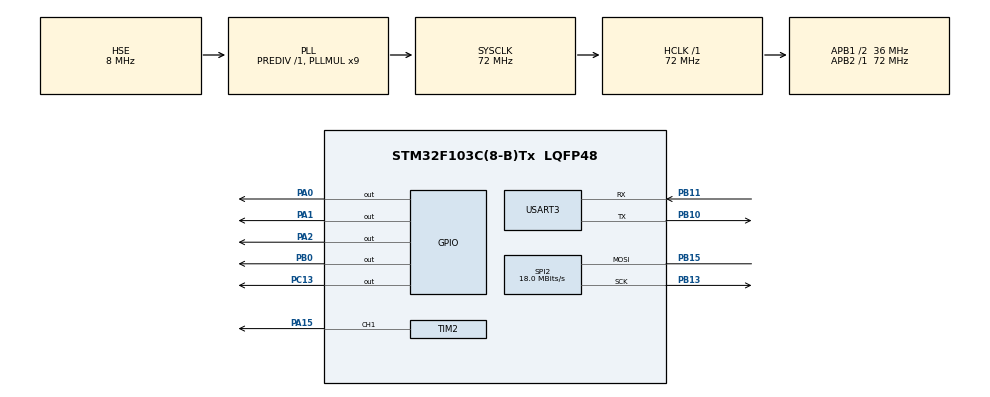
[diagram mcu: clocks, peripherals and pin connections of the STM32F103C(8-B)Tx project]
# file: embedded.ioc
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Mcu.Family=STM32F1
Mcu.Name=STM32F103C(8-B)Tx
Mcu.Package=LQFP48
NVIC.PriorityGroup=NVIC_PRIORITYGROUP_4
NVIC.TIM3_IRQn=true\:2\:0\:true\:false\:true\:true\:true\:true
NVIC.USART3_IRQn=true\:0\:0\:true\:false\:true\:true\:true\:true
PA0-WKUP.GPIO_PuPd=GPIO_PULLUP
PA0-WKUP.Signal=GPIO_Output
PA1.GPIO_PuPd=GPIO_PULLUP
PA1.Signal=GPIO_Output
PA13.Mode=Serial_Wire
PA13.Signal=SYS_JTMS-SWDIO
PA14.Mode=Serial_Wire
PA14.Signal=SYS_JTCK-SWCLK
PA15.Signal=S_TIM2_CH1_ETR
PA2.GPIO_PuPd=GPIO_PULLUP
PA2.Signal=GPIO_Output
PB0.GPIO_Speed=GPIO_SPEED_FREQ_HIGH
PB0.Signal=GPIO_Output
PB10.Mode=Asynchronous
PB10.Signal=USART3_TX
PB11.Mode=Asynchronous
PB11.Signal=USART3_RX
PB13.Mode=Simplex_Bidirectional_Master
PB13.Signal=SPI2_SCK
PB15.Mode=Simplex_Bidirectional_Master
PB15.Signal=SPI2_MOSI
PC13-TAMPER-RTC.Signal=GPIO_Output
PD0-OSC_IN.Mode=HSE-External-Oscillator
PD0-OSC_IN.Signal=RCC_OSC_IN
PD1-OSC_OUT.Mode=HSE-External-Oscillator
PD1-OSC_OUT.Signal=RCC_OSC_OUT
ProjectManager.HeapSize=0x200
ProjectManager.StackSize=0x400
ProjectManager.TargetToolchain=Makefile
RCC.AHBFreq_Value=72000000
RCC.APB1CLKDivider=RCC_HCLK_DIV2
RCC.APB1Freq_Value=36000000
RCC.APB1TimFreq_Value=72000000
RCC.APB2Freq_Value=72000000
RCC.APB2TimFreq_Value=72000000
RCC.HCLKFreq_Value=72000000
RCC.PLLMUL=RCC_PLL_MUL9
RCC.PLLSourceVirtual=RCC_PLLSOURCE_HSE
RCC.SYSCLKFreq_VALUE=72000000
RCC.SYSCLKSource=RCC_SYSCLKSOURCE_PLLCLK
RCC.USBFreq_Value=72000000
SH.S_TIM2_CH1_ETR.0=TIM2_CH1,PWM Generation1 CH1
SPI2.CalculateBaudRate=18.0 MBits/s
SPI2.Direction=SPI_DIRECTION_1LINE
SPI2.Mode=SPI_MODE_MASTER
SPI2.VirtualType=VM_MASTER
TIM1.Prescaler=72-1
TIM2.Channel-PWM\ Generation1\ CH1=TIM_CHANNEL_1
TIM2.Period=1000-1
TIM2.Prescaler=1444-1
TIM3.Period=60000
TIM3.Prescaler=7200-1
USART3.VirtualMode=VM_ASYNC
VP_TIM1_VS_ClockSourceINT.Mode=Internal
VP_TIM2_VS_ClockSourceINT.Mode=Internal
VP_TIM3_VS_ClockSourceINT.Mode=Internal
board=custom

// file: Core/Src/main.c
/* USER CODE BEGIN Header */
/**
 ******************************************************************************
 * @file           : main.c
 * @brief          : Main program body
 ******************************************************************************
 * @attention
 *
 * Copyright (c) 2023 STMicroelectronics.
 * All rights reserved.
 *
 * This software is licensed under terms that can be found in the LICENSE file
 * in the root directory of this software component.
 * If no LICENSE file comes with this software, it is provided AS-IS.
 *    // angle = 1.8*count-45;
 ******************************************************************************
 */
/* USER CODE END Header */
#include "main.h"
#include "spi.h"
#include "tim.h"
#include "usart.h"
#include "gpio.h"

/* USER CODE BEGIN Includes */
#include "stdio.h"
#include "stdlib.h"
#include "math.h"
#include "string.h"
#include "st7735.h"
#include "dht22.h"
// #include "fonts.h"

/* USER CODE END Includes */

/* USER CODE BEGIN PV */
int count = 25;
char rota[20] = {0};
char threshold[20] = {0};
char label_thres[10] = {0};
char str_thres[5] = {0};
int angle;
char buf_temp[20] = {0};
char buf_humi[20] = {0};
enum
{
  Task_sensor,
  Task_control,
  Task_display,
  Mode_auto,
  Mode_manual
};

volatile int Type_task = Task_sensor;
volatile int Mode = Mode_auto;

uint8_t Rx_data;
char buffer_data[50] = {0};
volatile int Rx_index = 0;
volatile bool Rx_complete = false;

volatile bool perform_s = false;
volatile bool perform_c = false;
volatile bool perform_d = false;

int PC_rota;
float PC_threshold = 30;

int temp;
int humi;
/* USER CODE END PV */

void SystemClock_Config(void);

/* USER CODE BEGIN 0 */
// void debug()
void set_timer(long time)
{
  TIM3->CNT = 60000 - time * 10;
}
void log_data(char *buffer)
{
  HAL_UART_Transmit(&huart3, (uint8_t *)buffer, strlen(buffer), 1000);
}

void HAL_TIM_PeriodElapsedCallback(TIM_HandleTypeDef *htim)
{
  if (htim == &htim3)
  {
    if (Type_task == Task_sensor)
    {
      perform_s = false;
      Type_task = Task_control;
      set_timer(500);
      return;
    }
    if (Type_task == Task_control)
    {
      perform_c = false;
      Type_task = Task_display;
      set_timer(500);
      return;
    }
    if (Type_task == Task_display)
    {
      perform_d = false;
      Type_task = Task_sensor;
      set_timer(1000);
      return;
    }
  }
}

void HAL_UART_RxCpltCallback(UART_HandleTypeDef *huart)
{
  if (huart == &huart3)
  {
    HAL_TIM_Base_Stop(&htim3);
    if (Rx_data == 13)
    {
      buffer_data[Rx_index] = '\0';
      Rx_index = 0;
      Rx_complete = true;
      if (strcmp(buffer_data, "manual") == 0)
      {
        Mode = Mode_manual;
      }
      if (strcmp(buffer_data, "auto") == 0)
      {
        Mode = Mode_auto;
      }
    }
    else
    {
      buffer_data[Rx_index] = (char)Rx_data;
      Rx_index++;
      // log_data((char*)Rx_data);
    }
    HAL_UART_Receive_IT(&huart3, &Rx_data, 1);
    HAL_TIM_Base_Start(&htim3);
  }
}
uint8_t RHI, RHD, TCI, TCD, SUM;
float tCelsius = 0;
float tFahrenheit = 0;
float RH = 0;

char thres_tring[]="Thres: 30";

/* USER CODE END 0 */

int main(void)
{

  /* MCU Configuration--------------------------------------------------------*/

  /* Reset of all peripherals, Initializes the Flash interface and the Systick. */
  HAL_Init();

  /* Configure the system clock */
  SystemClock_Config();

  /* Initialize all configured peripherals */
  MX_GPIO_Init();
  MX_SPI2_Init();
  MX_TIM1_Init();
  MX_USART3_UART_Init();
  MX_TIM2_Init();
  MX_TIM3_Init();
  /* USER CODE BEGIN 2 */
  // TImer 2 ->>>> generate PWM to control sg90
  HAL_TIM_PWM_Start(&htim2, TIM_CHANNEL_1);
  // init LCD TFT
  ST7735_Init();
  // Timer 1 to gen delay for DHT22
  HAL_TIM_Base_Start(&htim1);
  // set screen
  ST7735_FillScreen(ST7735_BLACK);
  ST7735_WriteString(25, 0, "Team 17", Font_11x18, ST7735_RED, ST7735_BLACK);
  ST7735_WriteString(0, 30, "Temp: ", Font_11x18, ST7735_RED, ST7735_BLACK);
  ST7735_WriteString(0, 3 * 10 * 2, "Humi: ", Font_11x18, ST7735_RED, ST7735_BLACK);
  ST7735_WriteString(0, 3 * 10 * 3, "Rota: ", Font_11x18, ST7735_GREEN, ST7735_BLACK);
  //sprintf(thres_tring,"Thresh: %.1f",PC_threshold);
  //strcat(thres_tring,"30");
  ST7735_WriteString(0, 3 * 10 * 4, thres_tring, Font_11x18, ST7735_GREEN, ST7735_BLACK);

  // ST7735_WriteString(35, 145, "Warnning", Font_7x10, ST7735_WHITE, ST7735_BLACK);
  HAL_Delay(1000);

  set_timer(1000);
  HAL_TIM_Base_Start_IT(&htim3);

  // interrupt UART
  HAL_UART_Receive_IT(&huart3, &Rx_data, 1);
  /* USER CODE END 2 */

  /* Infinite loop */
  while (1)
  {

    /* USER CODE BEGIN 3 */
    switch (Mode)
    {
    case Mode_auto:
      if (Type_task == Task_sensor)
      {
        if (!perform_s)
        {
          perform_s = true;
          log_data("task sensor\n");
          if (DHT11_Start())
          {
            RHI = DHT11_Read(); // Relative humidity integral
            RHD = DHT11_Read(); // Relative humidity decimal
            TCI = DHT11_Read(); // Celsius integral
            TCD = DHT11_Read(); // Celsius decimal
            SUM = DHT11_Read(); // Check sum
            if (RHI + RHD + TCI + TCD == SUM)
            {
              // Can use RHI and TCI for any purposes if whole number only needed
              temp = (float)TCI + (float)(TCD / 10.0);
              humi = (float)RHI + (float)(RHD / 10.0);
              // Can use tCelsius, tFahrenheit and RH for any purposes
            }
          }
        }
          // read sensor
        }
        if (Type_task == Task_control)
        {
          if (!perform_c)
          {
            perform_c = true;
            log_data("task control\n");
            // depend Temp value
            //>PC_threshold -> close curtain
            if (temp > PC_threshold)
            {
              TIM2->CCR1 = 25;
              // sprintf(rota, "Rota: %d  ", 0);
              // log_data(rota);
              // log_data("\n");
              // ST7735_WriteString(0, 3 * 10 * 3, rota, Font_11x18, ST7735_GREEN, ST7735_BLACK);
              // ST7735_WriteString(35, 145, "Warnning", Font_7x10, ST7735_WHITE, ST7735_BLACK);

            }
            //<PC_threshold -> close curtain
            else
            {
              TIM2->CCR1 = 125;
              // sprintf(rota, "Rota: %d  ", 180);
              // log_data(rota);
              // log_data("\n");
              // ST7735_WriteString(0, 3 * 10 * 3, rota, Font_11x18, ST7735_GREEN, ST7735_BLACK);
              // ST7735_WriteString(35, 145, "          ", Font_7x10, ST7735_WHITE, ST7735_BLACK);
            }
          }
        }
        if (Type_task == Task_display)
        {
          if (!perform_d)
          {
            perform_d = true;
            log_data("task display\n");
            sprintf(buf_temp, "Temp: %d C", temp);
            sprintf(buf_humi, "Humi: %d ", humi);
            log_data(buf_temp);
            log_data("\n");
            log_data(buf_humi);
            log_data("\n");
            if (temp > PC_threshold)
            {
              sprintf(rota, "Rota: %d  ", 0);
              log_data(rota);
              log_data("\n");
              ST7735_WriteString(0, 3 * 10 * 3, rota, Font_11x18, ST7735_GREEN, ST7735_BLACK);
              ST7735_WriteString(35, 145, "Warnning", Font_7x10, ST7735_WHITE, ST7735_BLACK);
            }
            else
            {
              sprintf(rota, "Rota: %d  ", 180);
              log_data(rota);
              log_data("\n");
              ST7735_WriteString(0, 3 * 10 * 3, rota, Font_11x18, ST7735_GREEN, ST7735_BLACK);
              ST7735_WriteString(35, 145, "          ", Font_7x10, ST7735_WHITE, ST7735_BLACK);
            }
            ST7735_WriteString(0, 30, buf_temp, Font_11x18, ST7735_RED, ST7735_BLACK);
            ST7735_WriteString(0, 3 * 10 * 2, strcat(buf_humi, "%"), Font_11x18, ST7735_RED, ST7735_BLACK);
          }
        }
        break;

      case Mode_manual:
        if (Rx_complete)
        {
          Rx_complete = false;
          if (strncmp(buffer_data, "Rota", 4) == 0)
          {
            // Parse string
            sscanf(buffer_data, "%*[^0-9]%d", &PC_rota);
            // control Servo
            TIM2->CCR1 = (int)((PC_rota + 45) / 1.8);
            sprintf(rota, "Rota: %d  ", PC_rota);
            log_data("\nPC control ");
            log_data(rota);
            ST7735_WriteString(0, 3 * 10 * 3, rota, Font_11x18, ST7735_GREEN, ST7735_BLACK);
          }
          if (strncmp(buffer_data, "Threshold", strlen("Threshold")) == 0)
          {
            char str_buf[] = "Thres: ";
            // Parse string
            sscanf(buffer_data, "%s%s", label_thres, str_thres);
            //log_data(str_thres);
            //log_data(label_thres);
            // control Servo
            PC_threshold = atof(str_thres);
            strcat(str_buf, str_thres);
            log_data("\nPC set Threshold: ");log_data(str_thres);
            //log_data(str_buf);
            // sprintf(threshold, "%.1f  ", PC_threshold);
            // // strcat()
            // // strcpy(threshold,str_thres);
            // log_data(threshold);
            ST7735_WriteString(0, 3 * 10 * 4, str_buf, Font_11x18, ST7735_GREEN, ST7735_BLACK);
          }
          memset(buffer_data, '\0', sizeof(buffer_data));
          // HAL_TIM_Base_Start_IT(&htim3);
        }
      }
      HAL_Delay(100);
      // HAL_TIM_Base_Stop(&htim3);
      // HAL_Delay(3000);
      // HAL_TIM_Base_Start_IT(&htim3);
      // HAL_Delay(3000);
      // TIM2 -> CCR1 = count;
      // angle = 1.8*count-45;
      // sprintf(rota,"Rota: %d  ",angle);
      // debug(rota);
      // ST7735_WriteString(0, 3 * 10 * 2, rota, Font_11x18, ST7735_GREEN, ST7735_BLACK);
      // count =count+10;
      // if(count>125)
      // {
      //   count=25;
      // }
      // HAL_Delay(2000);
      // Check fonts
  }
  /* USER CODE END 3 */
}

void SystemClock_Config(void)
{
  RCC_OscInitTypeDef RCC_OscInitStruct = {0};
  RCC_ClkInitTypeDef RCC_ClkInitStruct = {0};

  /** Initializes the RCC Oscillators according to the specified parameters
   * in the RCC_OscInitTypeDef structure.
   */
  RCC_OscInitStruct.OscillatorType = RCC_OSCILLATORTYPE_HSE;
  RCC_OscInitStruct.HSEState = RCC_HSE_ON;
  RCC_OscInitStruct.HSEPredivValue = RCC_HSE_PREDIV_DIV1;
  RCC_OscInitStruct.HSIState = RCC_HSI_ON;
  RCC_OscInitStruct.PLL.PLLState = RCC_PLL_ON;
  RCC_OscInitStruct.PLL.PLLSource = RCC_PLLSOURCE_HSE;
  RCC_OscInitStruct.PLL.PLLMUL = RCC_PLL_MUL9;
  if (HAL_RCC_OscConfig(&RCC_OscInitStruct) != HAL_OK)
  {
    Error_Handler();
  }

  /** Initializes the CPU, AHB and APB buses clocks
   */
  RCC_ClkInitStruct.ClockType = RCC_CLOCKTYPE_HCLK | RCC_CLOCKTYPE_SYSCLK | RCC_CLOCKTYPE_PCLK1 | RCC_CLOCKTYPE_PCLK2;
  RCC_ClkInitStruct.SYSCLKSource = RCC_SYSCLKSOURCE_PLLCLK;
  RCC_ClkInitStruct.AHBCLKDivider = RCC_SYSCLK_DIV1;
  RCC_ClkInitStruct.APB1CLKDivider = RCC_HCLK_DIV2;
  RCC_ClkInitStruct.APB2CLKDivider = RCC_HCLK_DIV1;

  if (HAL_RCC_ClockConfig(&RCC_ClkInitStruct, FLASH_LATENCY_2) != HAL_OK)
  {
    Error_Handler();
  }
}

void Error_Handler(void)
{
  __disable_irq();
  while (1)
  {
  }
}
